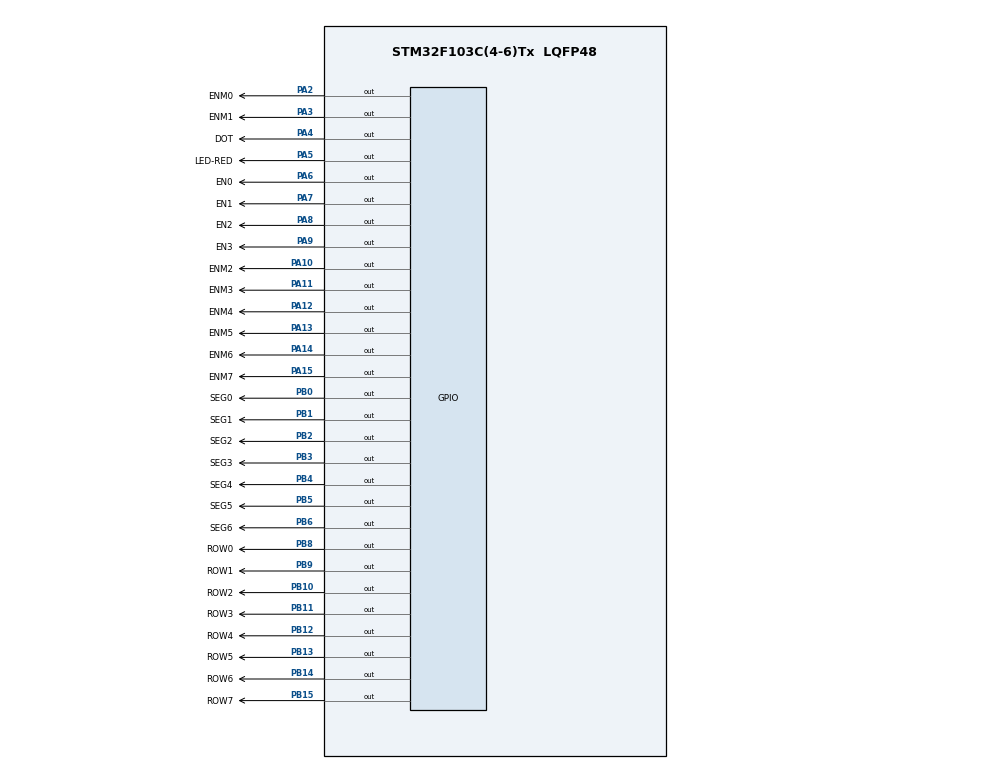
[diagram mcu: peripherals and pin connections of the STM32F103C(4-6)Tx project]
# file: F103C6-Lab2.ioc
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Mcu.Family=STM32F1
Mcu.Name=STM32F103C(4-6)Tx
Mcu.Package=LQFP48
NVIC.PriorityGroup=NVIC_PRIORITYGROUP_4
NVIC.TIM2_IRQn=true\:0\:0\:false\:false\:true\:true\:true\:true
PA10.GPIO_Label=ENM2
PA10.Signal=GPIO_Output
PA11.GPIO_Label=ENM3
PA11.Signal=GPIO_Output
PA12.GPIO_Label=ENM4
PA12.Signal=GPIO_Output
PA13.GPIO_Label=ENM5
PA13.Signal=GPIO_Output
PA14.GPIO_Label=ENM6
PA14.Signal=GPIO_Output
PA15.GPIO_Label=ENM7
PA15.Signal=GPIO_Output
PA2.GPIO_Label=ENM0
PA2.Signal=GPIO_Output
PA3.GPIO_Label=ENM1
PA3.Signal=GPIO_Output
PA4.GPIO_Label=DOT
PA4.Signal=GPIO_Output
PA5.GPIO_Label=LED-RED
PA5.Signal=GPIO_Output
PA6.GPIO_Label=EN0
PA6.PinState=GPIO_PIN_SET
PA6.Signal=GPIO_Output
PA7.GPIO_Label=EN1
PA7.PinState=GPIO_PIN_SET
PA7.Signal=GPIO_Output
PA8.GPIO_Label=EN2
PA8.PinState=GPIO_PIN_SET
PA8.Signal=GPIO_Output
PA9.GPIO_Label=EN3
PA9.PinState=GPIO_PIN_SET
PA9.Signal=GPIO_Output
PB0.GPIO_Label=SEG0
PB0.Signal=GPIO_Output
PB1.GPIO_Label=SEG1
PB1.Signal=GPIO_Output
PB10.GPIO_Label=ROW2
PB10.Signal=GPIO_Output
PB11.GPIO_Label=ROW3
PB11.Signal=GPIO_Output
PB12.GPIO_Label=ROW4
PB12.Signal=GPIO_Output
PB13.GPIO_Label=ROW5
PB13.Signal=GPIO_Output
PB14.GPIO_Label=ROW6
PB14.Signal=GPIO_Output
PB15.GPIO_Label=ROW7
PB15.Signal=GPIO_Output
PB2.GPIO_Label=SEG2
PB2.Signal=GPIO_Output
PB3.GPIO_Label=SEG3
PB3.Signal=GPIO_Output
PB4.GPIO_Label=SEG4
PB4.Signal=GPIO_Output
PB5.GPIO_Label=SEG5
PB5.Signal=GPIO_Output
PB6.GPIO_Label=SEG6
PB6.Signal=GPIO_Output
PB8.GPIO_Label=ROW0
PB8.Signal=GPIO_Output
PB9.GPIO_Label=ROW1
PB9.Signal=GPIO_Output
ProjectManager.HeapSize=0x200
ProjectManager.StackSize=0x400
ProjectManager.TargetToolchain=STM32CubeIDE
RCC.APB1Freq_Value=8000000
RCC.APB2Freq_Value=8000000
TIM2.Period=10
TIM2.Prescaler=8000 - 1
VP_TIM2_VS_ClockSourceINT.Mode=Internal
board=custom

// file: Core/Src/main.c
/* USER CODE BEGIN Header */
/**
 * *****************************************************************************
 * @file           : main.c
 * @brief          : Main program body
 ******************************************************************************
 * @attention
 *
 * Copyright (c) 2022 STMicroelectronics.
 * All rights reserved.
 *
 * This software is licensed under terms that can be found in the LICENSE file
 * in the root directory of this software component.
 * If no LICENSE file comes with this software, it is provided AS-IS.
 *
 ******************************************************************************
 */
/* USER CODE END Header */
#include "main.h"

/* USER CODE BEGIN Includes */
#include "user_code.h"
#include "software_timer.h"
/* USER CODE END Includes */

TIM_HandleTypeDef htim2;

void SystemClock_Config(void);
static void MX_GPIO_Init(void);
static void MX_TIM2_Init(void);

int main(void)
{

  /* MCU Configuration--------------------------------------------------------*/

  /* Reset of all peripherals, Initializes the Flash interface and the Systick. */
  HAL_Init();

  /* Configure the system clock */
  SystemClock_Config();

  /* Initialize all configured peripherals */
  MX_GPIO_Init();
  MX_TIM2_Init();
  /* USER CODE BEGIN 2 */
    HAL_TIM_Base_Start_IT(&htim2);
  /* USER CODE END 2 */

  /* Infinite loop */
  /* USER CODE BEGIN WHILE */
    const int led_singular_blink_duration_ms = 1000;
    const int seg7_switch_duration_ms = 1000;
    const int dot_blink_duration_ms = 1000;
    const int matrix_column_switch_duration_ms = 500;

    int hour = 15, minute = 8, second = 50;

    setTimer0(led_singular_blink_duration_ms);
    setTimer1(seg7_switch_duration_ms);
    setTimer2(dot_blink_duration_ms);
    setTimer3(matrix_column_switch_duration_ms);

    while (1)
    {
        // toogle LED
        if (timer0_flag == SET)
        {
            setTimer0(led_singular_blink_duration_ms);
            HAL_GPIO_TogglePin(LED_RED_GPIO_Port, LED_RED_Pin);
        }
        // update seg7
        if (timer1_flag == SET)
        {
            setTimer1(seg7_switch_duration_ms);
            update7SEG(index_led);
            index_led = (index_led + 1) % NUMBER_OF_SEG7;
        }
        // blink dot
        if (timer2_flag == SET)
        {
            setTimer2(dot_blink_duration_ms);
            HAL_GPIO_TogglePin(DOT_GPIO_Port, DOT_Pin);

            // update the time too
            // bacause dot blink duration is set to 1s
            increment_time(&hour, &minute, &second);
            updateClockBuffer(hour, minute);
        }
        // update led dot matrix
        if (timer3_flag == SET)
        {
            setTimer3(matrix_column_switch_duration_ms);
            updateLEDMatrix(index_led_matrix);
            index_led_matrix = (index_led_matrix + 1) % LED_MATRIX_SIZE;
        }
    /* USER CODE END WHILE */

    }
}

void SystemClock_Config(void)
{
  RCC_OscInitTypeDef RCC_OscInitStruct = {0};
  RCC_ClkInitTypeDef RCC_ClkInitStruct = {0};

  /** Initializes the RCC Oscillators according to the specified parameters
  * in the RCC_OscInitTypeDef structure.
  */
  RCC_OscInitStruct.OscillatorType = RCC_OSCILLATORTYPE_HSI;
  RCC_OscInitStruct.HSIState = RCC_HSI_ON;
  RCC_OscInitStruct.HSICalibrationValue = RCC_HSICALIBRATION_DEFAULT;
  RCC_OscInitStruct.PLL.PLLState = RCC_PLL_NONE;
  if (HAL_RCC_OscConfig(&RCC_OscInitStruct) != HAL_OK)
  {
    Error_Handler();
  }

  /** Initializes the CPU, AHB and APB buses clocks
  */
  RCC_ClkInitStruct.ClockType = RCC_CLOCKTYPE_HCLK|RCC_CLOCKTYPE_SYSCLK
                              |RCC_CLOCKTYPE_PCLK1|RCC_CLOCKTYPE_PCLK2;
  RCC_ClkInitStruct.SYSCLKSource = RCC_SYSCLKSOURCE_HSI;
  RCC_ClkInitStruct.AHBCLKDivider = RCC_SYSCLK_DIV1;
  RCC_ClkInitStruct.APB1CLKDivider = RCC_HCLK_DIV1;
  RCC_ClkInitStruct.APB2CLKDivider = RCC_HCLK_DIV1;

  if (HAL_RCC_ClockConfig(&RCC_ClkInitStruct, FLASH_LATENCY_0) != HAL_OK)
  {
    Error_Handler();
  }
}

static void MX_TIM2_Init(void)
{

  TIM_ClockConfigTypeDef sClockSourceConfig = {0};
  TIM_MasterConfigTypeDef sMasterConfig = {0};

  htim2.Instance = TIM2;
  htim2.Init.Prescaler = 8000 - 1;
  htim2.Init.CounterMode = TIM_COUNTERMODE_UP;
  htim2.Init.Period = 10;
  htim2.Init.ClockDivision = TIM_CLOCKDIVISION_DIV1;
  htim2.Init.AutoReloadPreload = TIM_AUTORELOAD_PRELOAD_DISABLE;
  if (HAL_TIM_Base_Init(&htim2) != HAL_OK)
  {
    Error_Handler();
  }
  sClockSourceConfig.ClockSource = TIM_CLOCKSOURCE_INTERNAL;
  if (HAL_TIM_ConfigClockSource(&htim2, &sClockSourceConfig) != HAL_OK)
  {
    Error_Handler();
  }
  sMasterConfig.MasterOutputTrigger = TIM_TRGO_RESET;
  sMasterConfig.MasterSlaveMode = TIM_MASTERSLAVEMODE_DISABLE;
  if (HAL_TIMEx_MasterConfigSynchronization(&htim2, &sMasterConfig) != HAL_OK)
  {
    Error_Handler();
  }

}

static void MX_GPIO_Init(void)
{
  GPIO_InitTypeDef GPIO_InitStruct = {0};

  /* GPIO Ports Clock Enable */
  __HAL_RCC_GPIOA_CLK_ENABLE();
  __HAL_RCC_GPIOB_CLK_ENABLE();

  /*Configure GPIO pin Output Level */
  HAL_GPIO_WritePin(GPIOA, ENM0_Pin|ENM1_Pin|DOT_Pin|LED_RED_Pin
                          |ENM2_Pin|ENM3_Pin|ENM4_Pin|ENM5_Pin
                          |ENM6_Pin|ENM7_Pin, GPIO_PIN_RESET);

  /*Configure GPIO pin Output Level */
  HAL_GPIO_WritePin(GPIOA, EN0_Pin|EN1_Pin|EN2_Pin|EN3_Pin, GPIO_PIN_SET);

  /*Configure GPIO pin Output Level */
  HAL_GPIO_WritePin(GPIOB, SEG0_Pin|SEG1_Pin|SEG2_Pin|ROW2_Pin
                          |ROW3_Pin|ROW4_Pin|ROW5_Pin|ROW6_Pin
                          |ROW7_Pin|SEG3_Pin|SEG4_Pin|SEG5_Pin
                          |SEG6_Pin|ROW0_Pin|ROW1_Pin, GPIO_PIN_RESET);

  /*Configure GPIO pins : ENM0_Pin ENM1_Pin DOT_Pin LED_RED_Pin
                           EN0_Pin EN1_Pin EN2_Pin EN3_Pin
                           ENM2_Pin ENM3_Pin ENM4_Pin ENM5_Pin
                           ENM6_Pin ENM7_Pin */
  GPIO_InitStruct.Pin = ENM0_Pin|ENM1_Pin|DOT_Pin|LED_RED_Pin
                          |EN0_Pin|EN1_Pin|EN2_Pin|EN3_Pin
                          |ENM2_Pin|ENM3_Pin|ENM4_Pin|ENM5_Pin
                          |ENM6_Pin|ENM7_Pin;
  GPIO_InitStruct.Mode = GPIO_MODE_OUTPUT_PP;
  GPIO_InitStruct.Pull = GPIO_NOPULL;
  GPIO_InitStruct.Speed = GPIO_SPEED_FREQ_LOW;
  HAL_GPIO_Init(GPIOA, &GPIO_InitStruct);

  /*Configure GPIO pins : SEG0_Pin SEG1_Pin SEG2_Pin ROW2_Pin
                           ROW3_Pin ROW4_Pin ROW5_Pin ROW6_Pin
                           ROW7_Pin SEG3_Pin SEG4_Pin SEG5_Pin
                           SEG6_Pin ROW0_Pin ROW1_Pin */
  GPIO_InitStruct.Pin = SEG0_Pin|SEG1_Pin|SEG2_Pin|ROW2_Pin
                          |ROW3_Pin|ROW4_Pin|ROW5_Pin|ROW6_Pin
                          |ROW7_Pin|SEG3_Pin|SEG4_Pin|SEG5_Pin
                          |SEG6_Pin|ROW0_Pin|ROW1_Pin;
  GPIO_InitStruct.Mode = GPIO_MODE_OUTPUT_PP;
  GPIO_InitStruct.Pull = GPIO_NOPULL;
  GPIO_InitStruct.Speed = GPIO_SPEED_FREQ_LOW;
  HAL_GPIO_Init(GPIOB, &GPIO_InitStruct);

}

/* USER CODE BEGIN 4 */
void HAL_TIM_PeriodElapsedCallback(TIM_HandleTypeDef *htim)
{
    timer0_run();
    timer1_run();
    timer2_run();
    timer3_run();
}
/* USER CODE END 4 */

void Error_Handler(void)
{
    __disable_irq();
    while (1)
    {
    }
}

#ifdef  USE_FULL_ASSERT
/**
  * @brief  Reports the name of the source file and the source line number
  *         where the assert_param error has occurred.
  * @param  file: pointer to the source file name
  * @param  line: assert_param error line source number
  * @retval None
  */
void assert_failed(uint8_t *file, uint32_t line)
{
  /* USER CODE BEGIN 6 */
    /* User can add his own implementation to report the file name and line number,
     *     ex: printf("Wrong parameters value: file %s on line %d\r\n", file, line) */
  /* USER CODE END 6 */
}
#endif /* USE_FULL_ASSERT */
